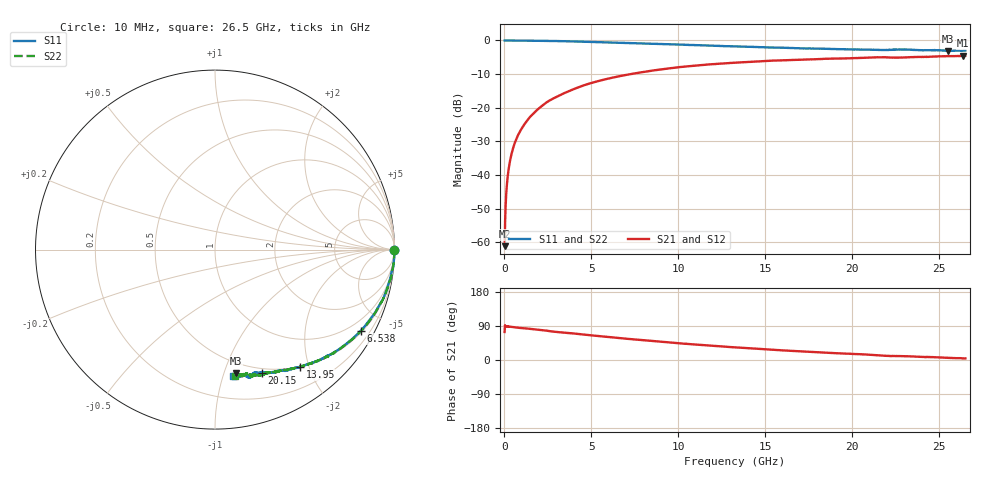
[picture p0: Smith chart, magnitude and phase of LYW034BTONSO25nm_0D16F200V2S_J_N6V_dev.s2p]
!Keysight Technologies,N5222B,MY61253708,A.15.00.15
!Date: Wednesday, June 19, 2024 08:39:59
!Correction: S11(C  2-Port  )
!S21(C  2-Port  )
!S12(C  2-Port  )
!S22(C  2-Port  )
!S2P File: Measurements: S11, S21, S12, S22:
# Hz S  RI  R 50
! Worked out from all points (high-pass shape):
!   2651 points, 10 MHz to 26.5 GHz, reference 50 ohm
!   highest |S21| = -4.53 dB at 26.38 GHz (marker M1); lowest = -61.1 dB at 10 MHz (marker M2)
!   |S21| within 3 dB of the highest: 10.87 GHz to end of sweep
!   lowest |S11| = -3.1 dB at 25.49 GHz (marker M3), VSWR 5.64, Z = 20.4 - j54.9 ohm
!   |S11| at or under -10 dB: nowhere
!   |S22| runs from -3.0 to 0.0 dB; largest |S21 - S12| = 0.01
!   S11 on the Smith chart (normalised r, x): 10 MHz: open; 6.538 GHz: 0.57, -3.77; 13.95 GHz: 0.49, -1.85; 20.15 GHz: 0.45, -1.35; 26.5 GHz: 0.38, -1.08
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1e7  0.9985 -0.00268  0.000243 0.000847  -0.000126 0.000463  0.9989 -0.001
7.997358e7  0.9997 -0.00701  2.77e-05 0.00411  4.96e-05 0.00402  0.9994 -0.00655
1.599434e8  0.9997 -0.0144  0.00017 0.00816  0.000161 0.008  0.9994 -0.0134
1.999283e8  0.9997 -0.0173  0.000257 0.0102  0.000242 0.01  0.9995 -0.0164
2.599057e8  0.9991 -0.0227  0.00043 0.0132  0.000311 0.013  0.9992 -0.0216
3.598679e8  0.9987 -0.0314  0.000747 0.0182  0.000679 0.0179  0.9989 -0.0302
4.898189e8  0.9979 -0.0423  0.00136 0.0247  0.00124 0.0243  0.9981 -0.0405
8.49683e8  0.9957 -0.0719  0.00376 0.0424  0.00358 0.0418  0.9957 -0.0707
1.459453e9  0.984 -0.1235  0.00962 0.0721  0.00921 0.071  0.9871 -0.1182
2.329125e9  0.9671 -0.1891  0.0237 0.1131  0.023 0.1119  0.9694 -0.1878
3.208792e9  0.9446 -0.2548  0.0451 0.1484  0.0439 0.1472  0.9465 -0.2519
4.428332e9  0.9006 -0.3364  0.0787 0.1943  0.077 0.1933  0.9047 -0.3317
6.537536e9  0.8116 -0.4526  0.1542 0.248  0.1525 0.2474  0.8167 -0.4504
8.846664e9  0.7011 -0.5475  0.2415 0.2768  0.2398 0.2768  0.7067 -0.5452
1.3255e10  0.5009 -0.6438  0.3907 0.2571  0.3901 0.2574  0.5077 -0.6434
1.395474e10  0.4729 -0.6538  0.4099 0.2479  0.4078 0.2496  0.4792 -0.6531
1.767333e10  0.3324 -0.6818  0.4879 0.1908  0.4888 0.1901  0.3465 -0.6821
2.01524e10  0.2597 -0.6888  0.5267 0.1497  0.5272 0.1475  0.2762 -0.6945
2.209166e10  0.2173 -0.6879  0.5493 0.105  0.5489 0.1041  0.2137 -0.6968
2.549038e10  0.1163 -0.689  0.5816 0.057  0.5807 0.0594  0.1381 -0.6993
2.638005e10  0.1041 -0.7003  0.5918 0.044  0.5853 0.0464  0.1135 -0.7067
2.65e10  0.1008 -0.7027  0.5918 0.0436  0.5893 0.0423  0.1131 -0.7063
